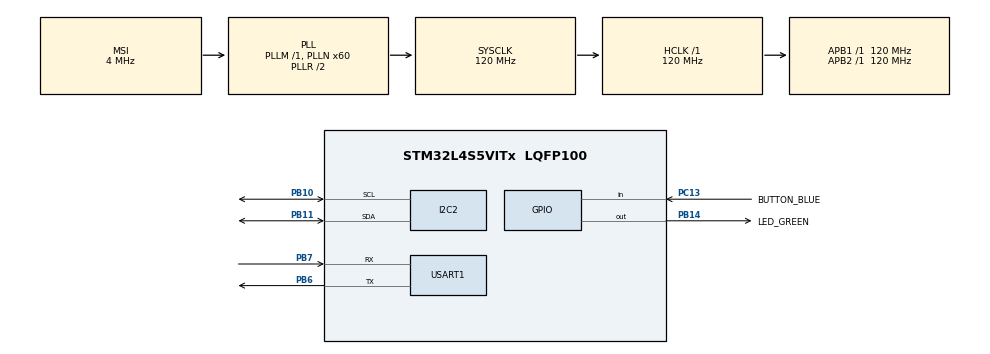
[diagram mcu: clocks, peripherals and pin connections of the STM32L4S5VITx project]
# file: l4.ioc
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Mcu.Family=STM32L4
RCC.MSI_VALUE=4000000
VP_SYS_VS_tim6.Mode=TIM6
RCC.CortexFreq_Value=120000000
FREERTOS.Tasks01=selectMode,0,128,startSelectMode,Default,NULL,Dynamic,NULL,NULL;output,-3,128,startOutput,Default,NULL,Dynamic,NULL,NULL;readSensor,-3,128,startReadSensor,Default,NULL,Dynamic,NULL,NULL
PB10.Mode=I2C
NVIC.TIM6_DAC_IRQn=true\:0\:0\:false\:false\:true\:false\:false\:true
PC13.Signal=GPIO_Input
PB14.GPIO_Label=LED_GREEN
I2C2.Timing=0x307075B1
PC13.GPIO_Label=BUTTON_BLUE
PB11.Signal=I2C2_SDA
RCC.SYSCLKSource=RCC_SYSCLKSOURCE_PLLCLK
ProjectManager.StackSize=0x400
USART1.VirtualMode-Asynchronous=VM_ASYNC
PB11.Mode=I2C
ProjectManager.TargetToolchain=STM32CubeIDE
RCC.HCLKFreq_Value=120000000
RCC.APB2TimFreq_Value=120000000
PB6.Signal=USART1_TX
PB6.Mode=Asynchronous
RCC.USBFreq_Value=48000000
RCC.LSE_VALUE=32768
RCC.AHBFreq_Value=120000000
PB10.Signal=I2C2_SCL
PB14.Signal=GPIO_Output
RCC.HSE_VALUE=8000000
board=B-L4S5I-IOT01A
RCC.VCOOutputFreq_Value=240000000
RCC.APB2Freq_Value=120000000
RCC.ADCFreq_Value=48000000
PB7.Signal=USART1_RX
VP_FREERTOS_VS_CMSIS_V1.Mode=CMSIS_V1
Mcu.Name=STM32L4S5VITx
RCC.SYSCLKFreq_VALUE=120000000
Mcu.Package=LQFP100
NVIC.TimeBase=TIM6_DAC_IRQn
PB7.Mode=Asynchronous
NVIC.TimeBaseIP=TIM6
ProjectManager.HeapSize=0x200
RCC.HSI_VALUE=16000000
NVIC.PriorityGroup=NVIC_PRIORITYGROUP_4
RCC.PLLN=60
RCC.APB1TimFreq_Value=120000000
RCC.APB1Freq_Value=120000000
RCC.HSI48_VALUE=48000000
RCC.PLLSAI1N=24

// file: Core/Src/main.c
/* USER CODE BEGIN Header */
/**
 ******************************************************************************
 * @file           : main.c
 * @brief          : Main program body
 ******************************************************************************
 * @attention
 *
 * <h2><center>&copy; Copyright (c) 2021 STMicroelectronics.
 * All rights reserved.</center></h2>
 *
 * This software component is licensed by ST under BSD 3-Clause license,
 * the "License"; You may not use this file except in compliance with the
 * License. You may obtain a copy of the License at:
 *                        opensource.org/licenses/BSD-3-Clause
 *
 ******************************************************************************
 */
/* USER CODE END Header */
#include "main.h"
#include "cmsis_os.h"

/* USER CODE BEGIN Includes */
#include "stm32l4s5i_iot01_accelero.h"
#include "stm32l4s5i_iot01_gyro.h"
#include "stdio.h"
#include "stm32l4s5i_iot01_hsensor.h"
#include "stm32l4s5i_iot01_psensor.h"
#include "stm32l4s5i_iot01_tsensor.h"
//#include "stm32l4s5i_iot01_hsensor.h"

#include "stm32l4s5i_iot01_magneto.h"
#include "stm32l4s5i_iot01.h"
#include "stm32l4xx_hal_uart.h"

/* USER CODE END Includes */

/* USER CODE BEGIN PD */
#define HSENSOR_WRITE_ADDR *((uint8_t*) 0xBE)
#define HSENSOR_READ_ADDR *((uint8_t*) 0xBF)

/* USER CODE END PD */

I2C_HandleTypeDef hi2c2;

UART_HandleTypeDef huart1;

osThreadId selectModeHandle;
osThreadId outputHandle;
osThreadId readSensorHandle;

void SystemClock_Config(void);
static void MX_GPIO_Init(void);
static void MX_USART1_UART_Init(void);
static void MX_I2C2_Init(void);
void startSelectMode(void const * argument);
void startOutput(void const * argument);
void startReadSensor(void const * argument);

/* USER CODE BEGIN 0 */
int humidity_val, pressure_val, temp_val;
//int16_t accelero_val, magneto_val;
//float gyro_val;
int16_t accelero[3], magneto[3];
float* gyro[3];
char buffer[50];
int length = 0;
int buttonPressed = 0;
//	uint8_t wave_mode = 0;
int read_v_or_t = 0; //v is false, t is true
//  	int sensor_mode[6] = {0,1,2,3,4,5};
/* USER CODE END 0 */

int main(void)
{

	/* MCU Configuration--------------------------------------------------------*/

	/* Reset of all peripherals, Initializes the Flash interface and the Systick. */
	HAL_Init();

	/* Configure the system clock */
	SystemClock_Config();

	/* Initialize all configured peripherals */
	MX_GPIO_Init();
	MX_USART1_UART_Init();
	MX_I2C2_Init();
	/* USER CODE BEGIN 2 */
	BSP_HSENSOR_Init();
	BSP_PSENSOR_Init();
	BSP_TSENSOR_Init();
	BSP_ACCELERO_Init();
	BSP_GYRO_Init();
	BSP_MAGNETO_Init();

	/* USER CODE END 2 */

	/* Create the thread(s) */
	/* definition and creation of selectMode */
	osThreadDef(selectMode, startSelectMode, osPriorityNormal, 0, 128);
	selectModeHandle = osThreadCreate(osThread(selectMode), NULL);

	/* definition and creation of output */
	osThreadDef(output, startOutput, osPriorityIdle, 0, 128);
	outputHandle = osThreadCreate(osThread(output), NULL);

	/* definition and creation of readSensor */
	osThreadDef(readSensor, startReadSensor, osPriorityIdle, 0, 128);
	readSensorHandle = osThreadCreate(osThread(readSensor), NULL);

	/* Start scheduler */
	osKernelStart();

	/* We should never get here as control is now taken by the scheduler */
	/* Infinite loop */
	while (1)
	{
	}

}

void SystemClock_Config(void)
{
	RCC_OscInitTypeDef RCC_OscInitStruct = {0};
	RCC_ClkInitTypeDef RCC_ClkInitStruct = {0};
	RCC_PeriphCLKInitTypeDef PeriphClkInit = {0};

	/** Configure the main internal regulator output voltage
	 */
	if (HAL_PWREx_ControlVoltageScaling(PWR_REGULATOR_VOLTAGE_SCALE1_BOOST) != HAL_OK)
	{
		Error_Handler();
	}
	/** Initializes the RCC Oscillators according to the specified parameters
	 * in the RCC_OscInitTypeDef structure.
	 */
	RCC_OscInitStruct.OscillatorType = RCC_OSCILLATORTYPE_MSI;
	RCC_OscInitStruct.MSIState = RCC_MSI_ON;
	RCC_OscInitStruct.MSICalibrationValue = 0;
	RCC_OscInitStruct.MSIClockRange = RCC_MSIRANGE_6;
	RCC_OscInitStruct.PLL.PLLState = RCC_PLL_ON;
	RCC_OscInitStruct.PLL.PLLSource = RCC_PLLSOURCE_MSI;
	RCC_OscInitStruct.PLL.PLLM = 1;
	RCC_OscInitStruct.PLL.PLLN = 60;
	RCC_OscInitStruct.PLL.PLLP = RCC_PLLP_DIV2;
	RCC_OscInitStruct.PLL.PLLQ = RCC_PLLQ_DIV2;
	RCC_OscInitStruct.PLL.PLLR = RCC_PLLR_DIV2;
	if (HAL_RCC_OscConfig(&RCC_OscInitStruct) != HAL_OK)
	{
		Error_Handler();
	}
	/** Initializes the CPU, AHB and APB buses clocks
	 */
	RCC_ClkInitStruct.ClockType = RCC_CLOCKTYPE_HCLK|RCC_CLOCKTYPE_SYSCLK
			|RCC_CLOCKTYPE_PCLK1|RCC_CLOCKTYPE_PCLK2;
	RCC_ClkInitStruct.SYSCLKSource = RCC_SYSCLKSOURCE_PLLCLK;
	RCC_ClkInitStruct.AHBCLKDivider = RCC_SYSCLK_DIV1;
	RCC_ClkInitStruct.APB1CLKDivider = RCC_HCLK_DIV1;
	RCC_ClkInitStruct.APB2CLKDivider = RCC_HCLK_DIV1;

	if (HAL_RCC_ClockConfig(&RCC_ClkInitStruct, FLASH_LATENCY_5) != HAL_OK)
	{
		Error_Handler();
	}
	PeriphClkInit.PeriphClockSelection = RCC_PERIPHCLK_USART1|RCC_PERIPHCLK_I2C2;
	PeriphClkInit.Usart1ClockSelection = RCC_USART1CLKSOURCE_PCLK2;
	PeriphClkInit.I2c2ClockSelection = RCC_I2C2CLKSOURCE_PCLK1;
	if (HAL_RCCEx_PeriphCLKConfig(&PeriphClkInit) != HAL_OK)
	{
		Error_Handler();
	}
}

static void MX_I2C2_Init(void)
{

	hi2c2.Instance = I2C2;
	hi2c2.Init.Timing = 0x307075B1;
	hi2c2.Init.OwnAddress1 = 0;
	hi2c2.Init.AddressingMode = I2C_ADDRESSINGMODE_7BIT;
	hi2c2.Init.DualAddressMode = I2C_DUALADDRESS_DISABLE;
	hi2c2.Init.OwnAddress2 = 0;
	hi2c2.Init.OwnAddress2Masks = I2C_OA2_NOMASK;
	hi2c2.Init.GeneralCallMode = I2C_GENERALCALL_DISABLE;
	hi2c2.Init.NoStretchMode = I2C_NOSTRETCH_DISABLE;
	if (HAL_I2C_Init(&hi2c2) != HAL_OK)
	{
		Error_Handler();
	}
	/** Configure Analogue filter
	 */
	if (HAL_I2CEx_ConfigAnalogFilter(&hi2c2, I2C_ANALOGFILTER_ENABLE) != HAL_OK)
	{
		Error_Handler();
	}
	/** Configure Digital filter
	 */
	if (HAL_I2CEx_ConfigDigitalFilter(&hi2c2, 0) != HAL_OK)
	{
		Error_Handler();
	}

}

static void MX_USART1_UART_Init(void)
{

	huart1.Instance = USART1;
	huart1.Init.BaudRate = 115200;
	huart1.Init.WordLength = UART_WORDLENGTH_8B;
	huart1.Init.StopBits = UART_STOPBITS_1;
	huart1.Init.Parity = UART_PARITY_NONE;
	huart1.Init.Mode = UART_MODE_TX_RX;
	huart1.Init.HwFlowCtl = UART_HWCONTROL_NONE;
	huart1.Init.OverSampling = UART_OVERSAMPLING_16;
	huart1.Init.OneBitSampling = UART_ONE_BIT_SAMPLE_DISABLE;
	huart1.Init.ClockPrescaler = UART_PRESCALER_DIV1;
	huart1.AdvancedInit.AdvFeatureInit = UART_ADVFEATURE_NO_INIT;
	if (HAL_UART_Init(&huart1) != HAL_OK)
	{
		Error_Handler();
	}
	if (HAL_UARTEx_SetTxFifoThreshold(&huart1, UART_TXFIFO_THRESHOLD_1_8) != HAL_OK)
	{
		Error_Handler();
	}
	if (HAL_UARTEx_SetRxFifoThreshold(&huart1, UART_RXFIFO_THRESHOLD_1_8) != HAL_OK)
	{
		Error_Handler();
	}
	if (HAL_UARTEx_DisableFifoMode(&huart1) != HAL_OK)
	{
		Error_Handler();
	}

}

static void MX_GPIO_Init(void)
{
	GPIO_InitTypeDef GPIO_InitStruct = {0};

	/* GPIO Ports Clock Enable */
	__HAL_RCC_GPIOC_CLK_ENABLE();
	__HAL_RCC_GPIOB_CLK_ENABLE();

	/*Configure GPIO pin Output Level */
	HAL_GPIO_WritePin(LED_GREEN_GPIO_Port, LED_GREEN_Pin, GPIO_PIN_RESET);

	/*Configure GPIO pin : BUTTON_BLUE_Pin */
	GPIO_InitStruct.Pin = BUTTON_BLUE_Pin;
	GPIO_InitStruct.Mode = GPIO_MODE_INPUT;
	GPIO_InitStruct.Pull = GPIO_NOPULL;
	HAL_GPIO_Init(BUTTON_BLUE_GPIO_Port, &GPIO_InitStruct);

	/*Configure GPIO pin : LED_GREEN_Pin */
	GPIO_InitStruct.Pin = LED_GREEN_Pin;
	GPIO_InitStruct.Mode = GPIO_MODE_OUTPUT_PP;
	GPIO_InitStruct.Pull = GPIO_NOPULL;
	GPIO_InitStruct.Speed = GPIO_SPEED_FREQ_LOW;
	HAL_GPIO_Init(LED_GREEN_GPIO_Port, &GPIO_InitStruct);

}

void startSelectMode(void const * argument)
{
	/* USER CODE BEGIN 5 */
	/* Infinite loop */
	for(;;)
	{
		osDelay(1);
		if(!HAL_GPIO_ReadPin(BUTTON_BLUE_GPIO_Port, BUTTON_BLUE_Pin))
		{
			if(!buttonPressed)
			{
				HAL_GPIO_TogglePin(LED_GREEN_GPIO_Port, LED_GREEN_Pin);
				buttonPressed = 1;
				if (read_v_or_t < 5)
				{
					read_v_or_t = read_v_or_t + 1;
				}
				else
				{
					read_v_or_t = 0;
				}
			}
		}
		else
		{
			buttonPressed = 0;
		}
		//    		HAL_Delay(1);

		//
	}
	/* USER CODE END 5 */
}

void startOutput(void const * argument)
{
	/* USER CODE BEGIN startOutput */
	/* Infinite loop */
	for(;;)
	{
		osDelay(1);
		HAL_UART_Transmit(&huart1, (uint8_t*)buffer, length, HAL_MAX_DELAY);

	}
	/* USER CODE END startOutput */
}

void startReadSensor(void const * argument)
{
	/* USER CODE BEGIN startReadSensor */
	/* Infinite loop */
	for(;;)
	{
		osDelay(1);
		if (read_v_or_t == 0){
			//
			humidity_val = BSP_HSENSOR_ReadHumidity();
			length = sprintf(buffer, "Humidity: %d\r\n", humidity_val);

		}
		else if (read_v_or_t == 1) {
			temp_val = BSP_TSENSOR_ReadTemp();
			length = sprintf(buffer, "Temperature: %d\r\n", temp_val);

		}
		else if (read_v_or_t == 2) {

			pressure_val = BSP_PSENSOR_ReadPressure();
			length = sprintf(buffer, "Pressure: %d\r\n", pressure_val);
		}
		else if (read_v_or_t == 3) {

			BSP_GYRO_GetXYZ(gyro);
			length = sprintf(buffer, "Gyrometer: X:%d, Y:%d, Z:%d\r\n", (int)gyro[0], (int)gyro[1], (int)gyro[2]);

		}
		else if (read_v_or_t == 4) {

			BSP_ACCELERO_AccGetXYZ(accelero);
			length = sprintf(buffer, "Accelerometer: X:%d, Y:%d, Z:%d\r\n", (int)accelero[0], (int)accelero[1], (int)accelero[2]);

		}
		else if (read_v_or_t == 5) {

			BSP_MAGNETO_GetXYZ(magneto);
			length = sprintf(buffer, "Magnetometer: X:%d, Y:%d, Z:%d\r\n", (int)magneto[0], (int)magneto[1], (int)magneto[2]);

		}
	}
	/* USER CODE END startReadSensor */
}

void HAL_TIM_PeriodElapsedCallback(TIM_HandleTypeDef *htim)
{
	if (htim->Instance == TIM6) {
		HAL_IncTick();
	}
}

void Error_Handler(void)
{
	__disable_irq();
	while (1)
	{
	}
}

/************************ (C) COPYRIGHT STMicroelectronics *****END OF FILE****/
